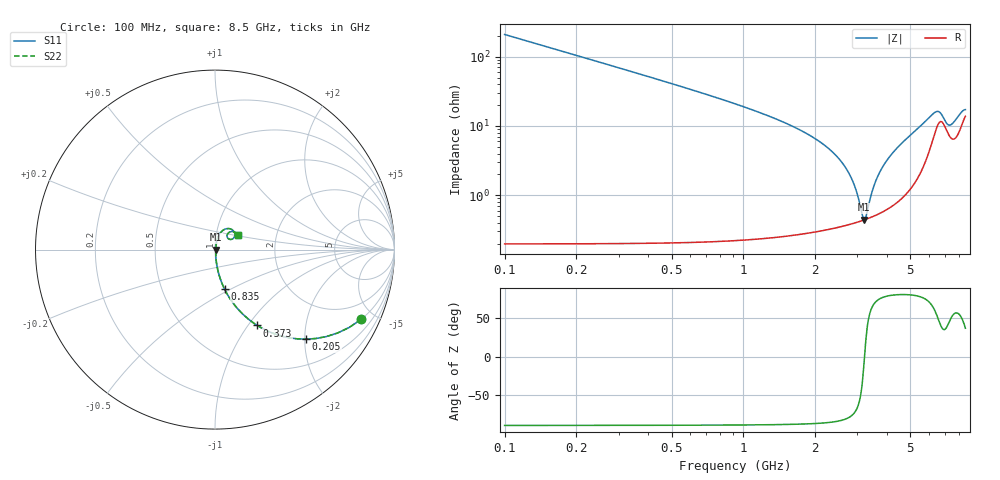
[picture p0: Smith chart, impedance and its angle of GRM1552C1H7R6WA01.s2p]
!Murata Part Number: GRM1552C1H7R6WA01
!These Parameters are Measured in Series Mode Connection
!Data Generated on Mar 30, 2021
!  o--ll--o
!Port1  Port2
!  o------o
!Operation Temp=25[degC], DC Bias Voltage=0[V]
!Freq. Start=100[MHz] Stop=9[GHz] 401[Steps]
# Hz S RI R 50
!Freq.(Hz) S11(Real) S11(Imag) S21(Real) S21(Imag) S12(Real) S12(Imag) S22(Real) S22(Imag)
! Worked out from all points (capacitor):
!   401 points, 100 MHz to 8.5 GHz, reference 50 ohm
!   read as one part in series: C = 7.6 pF near 142 MHz
!   lowest |Z| = 442 mohm at 3.208 GHz (marker M1)
!   series resonance near 3.214 GHz, so ESL is about 320 pH
!   S11 on the Smith chart (normalised r, x): 100 MHz: 1.00, -4.18; 205 MHz: 1.00, -2.04; 373 MHz: 1.00, -1.11; 835 MHz: 1.00, -0.47; 8.5 GHz: 1.28, +0.21
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1e8  0.8138 -0.3888  0.1862 0.3888  0.1862 0.3888  0.8138 -0.3888
2.05e8  0.5087 -0.4989  0.4913 0.4989  0.4913 0.4989  0.5087 -0.4989
2.89e8  0.3412 -0.4727  0.6588 0.4727  0.6588 0.4727  0.3412 -0.4727
3.73e8  0.2358 -0.4227  0.7642 0.4227  0.7642 0.4227  0.2358 -0.4227
5.62e8  0.1171 -0.3187  0.8829 0.3187  0.8829 0.3187  0.1171 -0.3187
8.35e8  0.054 -0.2214  0.946 0.2214  0.946 0.2214  0.054 -0.2214
1.507e9  0.0143 -0.1076  0.9857 0.1076  0.9857 0.1076  0.0143 -0.1076
2.431e9  0.00478 -0.0376  0.9952 0.0376  0.9952 0.0376  0.00478 -0.0376
2.704e9  0.00422 -0.0233  0.9958 0.0233  0.9958 0.0233  0.00422 -0.0233
2.914e9  0.00412 -0.0133  0.9959 0.0133  0.9959 0.0133  0.00412 -0.0133
3.145e9  0.0043 -0.00296  0.9957 0.00296  0.9957 0.00296  0.0043 -0.00296
3.208e9  0.00439 -0.000262  0.9956 0.000262  0.9956 0.000262  0.00439 -0.000262
3.271e9  0.00451 0.0024  0.9955 -0.0024  0.9955 -0.0024  0.00451 0.0024
3.481e9  0.00502 0.011  0.995 -0.011  0.995 -0.011  0.00502 0.011
3.649e9  0.00558 0.0177  0.9944 -0.0177  0.9944 -0.0177  0.00558 0.0177
3.922e9  0.00679 0.0283  0.9932 -0.0283  0.9932 -0.0283  0.00679 0.0283
4.3e9  0.00918 0.0428  0.9908 -0.0428  0.9908 -0.0428  0.00918 0.0428
5.707e9  0.0373 0.1017  0.9627 -0.1017  0.9627 -0.1017  0.0373 0.1017
6.484e9  0.1027 0.1046  0.8973 -0.1046  0.8973 -0.1046  0.1027 0.1046
7.114e9  0.0811 0.0573  0.9189 -0.0573  0.9189 -0.0573  0.0811 0.0573
7.408e9  0.0679 0.0705  0.9321 -0.0705  0.9321 -0.0705  0.0679 0.0705
8.5e9  0.1283 0.0793  0.8717 -0.0793  0.8717 -0.0793  0.1283 0.0793
